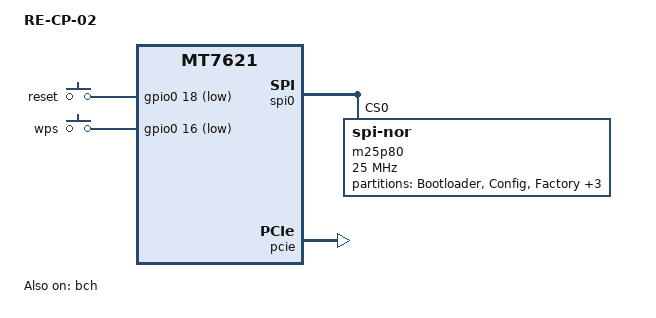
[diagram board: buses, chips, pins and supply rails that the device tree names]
/dts-v1/;

#include "mt7621.dtsi"
#include <dt-bindings/input/input.h>
#include "mt7621-raeth-gmac2.dtsi"
#include "mt7621-pinctrl-default-gpio.dtsi"

/ {
	compatible = "mediatek,mt7621-soc";
	model = "RE-CP-02";

	chosen {
		bootargs = "console=ttyS0,115200";
	};

	gpio-keys-polled {
		compatible = "gpio-keys-polled";
		#address-cells = <1>;
		#size-cells = <0>;
		poll-interval = <20>;

		reset {
			label = "reset";
			gpios = <&gpio0 18 GPIO_ACTIVE_LOW>;
			linux,code = <KEY_RESTART>;
		};

		wps {
			label = "wps";
			gpios = <&gpio0 16 GPIO_ACTIVE_LOW>;
			linux,code = <KEY_WPS_BUTTON>;
		};
	};
};

&bch {
	status = "okay";
};

&spi0 {
	status = "okay";

	m25p80@0 {
		#address-cells = <1>;
		#size-cells = <1>;
		compatible = "jedec,spi-nor";
		reg = <0>;
		spi-max-frequency = <25000000>;
		m25p,fast-read;

		partitions {
			compatible = "fixed-partitions";
			#address-cells = <1>;
			#size-cells = <1>;

			partition@0 {
				label = "Bootloader";
				reg = <0x00 0x30000>;
			};

			partition@30000 {
				label = "Config";
				reg = <0x30000 0x10000>;
			};

			partition@40000 {
				label = "Factory";
				reg = <0x40000 0x10000>;
			};

			partition@50000 {
				label = "firmware";
				reg = <0x50000 0xfa0000>;
			};
			
			partition@ff0000 {
			label = "Storage";
			reg = <0xff0000 0x10000>; /* 64K */
		};

			partition@all {
				label = "ALL";
				reg = <0x0 0x1000000>;
			};
		};
	};
};

&pcie {
	status = "okay";
};
